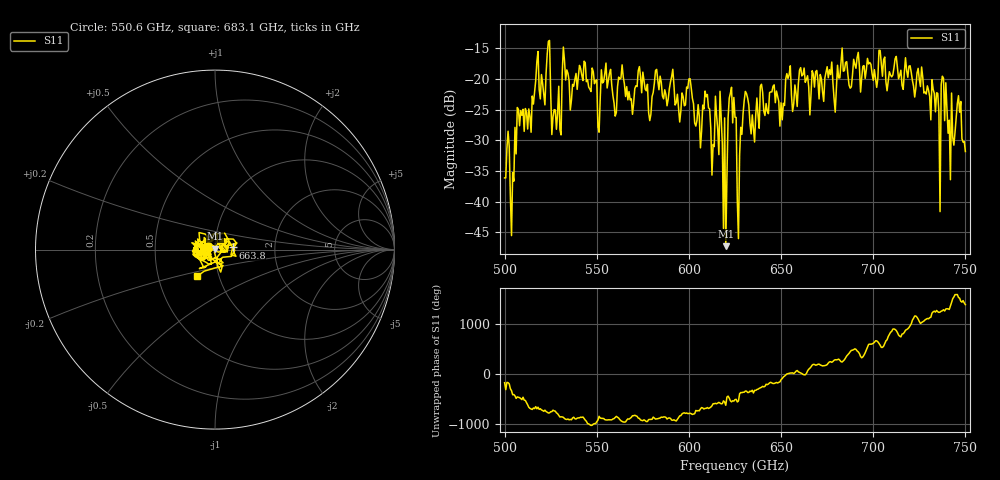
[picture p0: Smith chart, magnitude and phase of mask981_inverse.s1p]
!Created with skrf (http://scikit-rf.org).
# GHz S MA R 50.0
!freq magS11 angS11
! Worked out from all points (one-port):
!   401 points, 500 GHz to 750 GHz, reference 50 ohm
!   lowest |S11| = -47.2 dB at 620 GHz (marker M1), VSWR 1.01, Z = 50 + j0.432 ohm
!   |S11| at or under -10 dB: start of sweep to end of sweep
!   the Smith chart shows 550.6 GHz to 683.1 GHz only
!   S11 on the Smith chart (normalised r, x): 550.6 GHz: 0.93, +0.03; 663.8 GHz: 1.22, +0.03; 683.1 GHz: 0.79, -0.24
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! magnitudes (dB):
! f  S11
! 500 GHz  -36.1
! 503.8 GHz  -45.5
! 508.1 GHz  -27.6
! 517.5 GHz  -17.2
! 523.8 GHz  -13.9
! 526.9 GHz  -25.0
! 531.2 GHz  -19.1
! 542.5 GHz  -20.3
! 550.6 GHz  -27.9
! 562.5 GHz  -20.1
! 593.8 GHz  -22.5
! 610 GHz  -22.5
! 620 GHz  -47.2
! 622.5 GHz  -22.3
! 625 GHz  -26.2
! 627.5 GHz  -32.5
! 630.6 GHz  -22.0
! 634.4 GHz  -25.9
! 656.2 GHz  -25.3
! 663.8 GHz  -20.1
! 683.1 GHz  -15.0
! 687.5 GHz  -21.5
! 718.8 GHz  -19.7
! 735 GHz  -22.4
! 738.1 GHz  -19.9
! 743.1 GHz  -29.5
! 746.2 GHz  -22.7
! 750 GHz  -31.8
